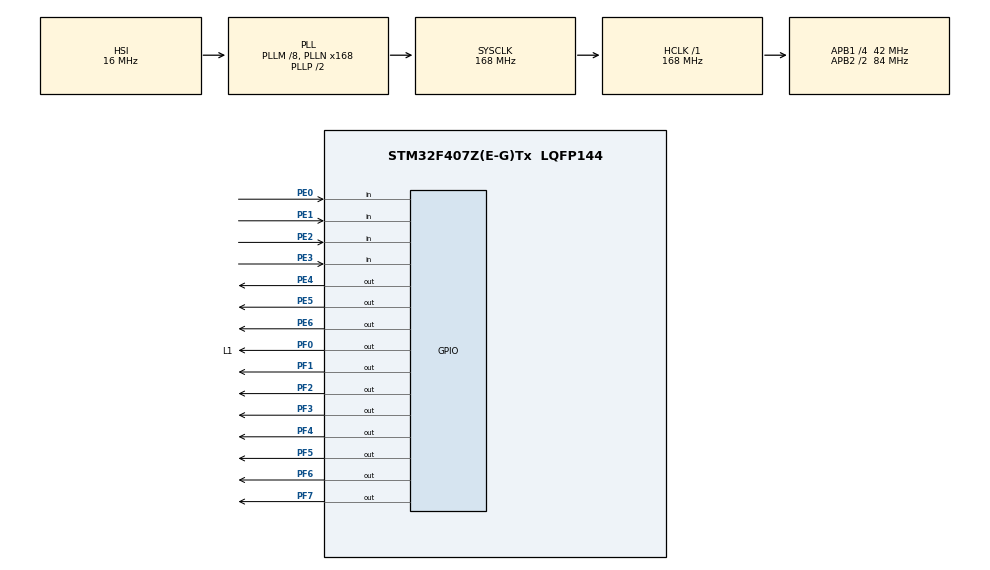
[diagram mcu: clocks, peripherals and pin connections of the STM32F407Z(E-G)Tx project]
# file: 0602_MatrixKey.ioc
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Mcu.Family=STM32F4
Mcu.Name=STM32F407Z(E-G)Tx
Mcu.Package=LQFP144
NVIC.PriorityGroup=NVIC_PRIORITYGROUP_4
PA13.Mode=Serial_Wire
PA13.Signal=SYS_JTMS-SWDIO
PA14.Mode=Serial_Wire
PA14.Signal=SYS_JTCK-SWCLK
PC14-OSC32_IN.Mode=LSE-External-Oscillator
PC14-OSC32_IN.Signal=RCC_OSC32_IN
PC15-OSC32_OUT.Mode=LSE-External-Oscillator
PC15-OSC32_OUT.Signal=RCC_OSC32_OUT
PE0.GPIO_PuPd=GPIO_PULLUP
PE0.Signal=GPIO_Input
PE1.GPIO_PuPd=GPIO_PULLUP
PE1.Signal=GPIO_Input
PE2.GPIO_PuPd=GPIO_PULLUP
PE2.Signal=GPIO_Input
PE3.GPIO_PuPd=GPIO_PULLUP
PE3.Signal=GPIO_Input
PE4.PinState=GPIO_PIN_SET
PE4.Signal=GPIO_Output
PE5.PinState=GPIO_PIN_SET
PE5.Signal=GPIO_Output
PE6.PinState=GPIO_PIN_SET
PE6.Signal=GPIO_Output
PF0.GPIO_Label=L1
PF0.PinState=GPIO_PIN_SET
PF0.Signal=GPIO_Output
PF1.PinState=GPIO_PIN_SET
PF1.Signal=GPIO_Output
PF2.PinState=GPIO_PIN_SET
PF2.Signal=GPIO_Output
PF3.PinState=GPIO_PIN_SET
PF3.Signal=GPIO_Output
PF4.PinState=GPIO_PIN_SET
PF4.Signal=GPIO_Output
PF5.PinState=GPIO_PIN_SET
PF5.Signal=GPIO_Output
PF6.PinState=GPIO_PIN_SET
PF6.Signal=GPIO_Output
PF7.PinState=GPIO_PIN_SET
PF7.Signal=GPIO_Output
PH0-OSC_IN.Mode=HSE-External-Oscillator
PH0-OSC_IN.Signal=RCC_OSC_IN
PH1-OSC_OUT.Mode=HSE-External-Oscillator
PH1-OSC_OUT.Signal=RCC_OSC_OUT
ProjectManager.HeapSize=0x200
ProjectManager.StackSize=0x400
ProjectManager.TargetToolchain=STM32CubeIDE
RCC.48MHZClocksFreq_Value=48000000
RCC.AHBFreq_Value=168000000
RCC.APB1CLKDivider=RCC_HCLK_DIV4
RCC.APB1Freq_Value=42000000
RCC.APB1TimFreq_Value=84000000
RCC.APB2CLKDivider=RCC_HCLK_DIV2
RCC.APB2Freq_Value=84000000
RCC.APB2TimFreq_Value=168000000
RCC.CortexFreq_Value=168000000
RCC.HCLKFreq_Value=168000000
RCC.HSE_VALUE=8000000
RCC.HSI_VALUE=16000000
RCC.PLLM=8
RCC.PLLN=168
RCC.PLLQ=7
RCC.SYSCLKFreq_VALUE=168000000
RCC.SYSCLKSource=RCC_SYSCLKSOURCE_PLLCLK
RCC.VCOOutputFreq_Value=336000000
board=custom

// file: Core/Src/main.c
/* USER CODE BEGIN Header */
/**
  ******************************************************************************
  * @file           : main.c
  * @brief          : 实验二（新版）：3×4 矩阵键盘 + 8421BCD 显示
  ******************************************************************************
  * @attention
  *
  * 主循环是一个简单的协作式调度：
  *   KEY_Poll()      —— 每 3 ms 采样一次键盘（内部限制频率，不阻塞）
  *   KEY_GetEvent()  —— 取出按键事件（含长按连发）
  *   led_show_bcd()  —— 有事件才刷新 LED，没事件什么都不做
  *
  ******************************************************************************
  */
/* USER CODE END Header */
#include "main.h"
#include "gpio.h"

/* USER CODE BEGIN Includes */
#include "keypad.h"
/* USER CODE END Includes */

void SystemClock_Config(void);
/* USER CODE BEGIN PFP */
static void led_show_bcd(uint8_t value);
/* USER CODE END PFP */

/* USER CODE BEGIN 0 */
#define LED_PORT        GPIOF
#define LED_ALL_PINS    0x00FFu          /* PF0~PF7，低电平点亮 */

/**
  * @brief  把 0~99 的数值按 8421BCD 码显示到 PF0~PF7
  * @note   这里故意不用除法：用循环减法把十位"数"出来，
  *         避免在只有整数除法的环境里引入除法库调用。
  */
static void led_show_bcd(uint8_t value)
{
  uint8_t tens = 0u;
  uint8_t ones = value;

  while (ones >= 10u)
  {
    ones = (uint8_t)(ones - 10u);
    tens++;
  }

  uint32_t bcd = ((uint32_t)tens << 4u) | (uint32_t)ones;
  uint32_t lit = bcd & LED_ALL_PINS;                          /* 需要点亮的位 */

  LED_PORT->BSRR = (LED_ALL_PINS & ~lit) | (lit << 16u);
}

/* USER CODE END 0 */

int main(void)
{
  /* USER CODE BEGIN 1 */
  uint8_t event;              /* 本次取到的按键事件 */
  /* USER CODE END 1 */

  /* MCU Configuration--------------------------------------------------------*/

  /* Reset of all peripherals, Initializes the Flash interface and the Systick. */
  HAL_Init();

  /* Configure the system clock */
  SystemClock_Config();

  /* Initialize all configured peripherals */
  MX_GPIO_Init();
  /* USER CODE BEGIN 2 */
  KEY_Init();
  led_show_bcd(0u);           /* 上电先清空显示 */
  /* USER CODE END 2 */

  /* Infinite loop */
  /* USER CODE BEGIN WHILE */
  while (1)
  {
    KEY_Poll();               /* 到采样时刻才真正干活，否则立即返回 */

    event = KEY_GetEvent();
    if (event != KEY_EVENT_NONE)
    {
      led_show_bcd(event);
    }
    /* USER CODE END WHILE */

  }
}

void SystemClock_Config(void)
{
  RCC_OscInitTypeDef RCC_OscInitStruct = {0};
  RCC_ClkInitTypeDef RCC_ClkInitStruct = {0};

  /** Configure the main internal regulator output voltage
  */
  __HAL_RCC_PWR_CLK_ENABLE();
  __HAL_PWR_VOLTAGESCALING_CONFIG(PWR_REGULATOR_VOLTAGE_SCALE1);

  /** Initializes the RCC Oscillators according to the specified parameters
  * in the RCC_OscInitTypeDef structure.
  */
  RCC_OscInitStruct.OscillatorType = RCC_OSCILLATORTYPE_HSI;
  RCC_OscInitStruct.HSIState = RCC_HSI_ON;
  RCC_OscInitStruct.HSICalibrationValue = RCC_HSICALIBRATION_DEFAULT;
  RCC_OscInitStruct.PLL.PLLState = RCC_PLL_ON;
  RCC_OscInitStruct.PLL.PLLSource = RCC_PLLSOURCE_HSI;
  RCC_OscInitStruct.PLL.PLLM = 8;
  RCC_OscInitStruct.PLL.PLLN = 168;
  RCC_OscInitStruct.PLL.PLLP = RCC_PLLP_DIV2;
  RCC_OscInitStruct.PLL.PLLQ = 7;
  if (HAL_RCC_OscConfig(&RCC_OscInitStruct) != HAL_OK)
  {
    Error_Handler();
  }

  /** Initializes the CPU, AHB and APB buses clocks
  */
  RCC_ClkInitStruct.ClockType = RCC_CLOCKTYPE_HCLK|RCC_CLOCKTYPE_SYSCLK
                              |RCC_CLOCKTYPE_PCLK1|RCC_CLOCKTYPE_PCLK2;
  RCC_ClkInitStruct.SYSCLKSource = RCC_SYSCLKSOURCE_PLLCLK;
  RCC_ClkInitStruct.AHBCLKDivider = RCC_SYSCLK_DIV1;
  RCC_ClkInitStruct.APB1CLKDivider = RCC_HCLK_DIV4;
  RCC_ClkInitStruct.APB2CLKDivider = RCC_HCLK_DIV2;

  if (HAL_RCC_ClockConfig(&RCC_ClkInitStruct, FLASH_LATENCY_5) != HAL_OK)
  {
    Error_Handler();
  }
}

void Error_Handler(void)
{
  __disable_irq();
  while (1)
  {
  }
}
